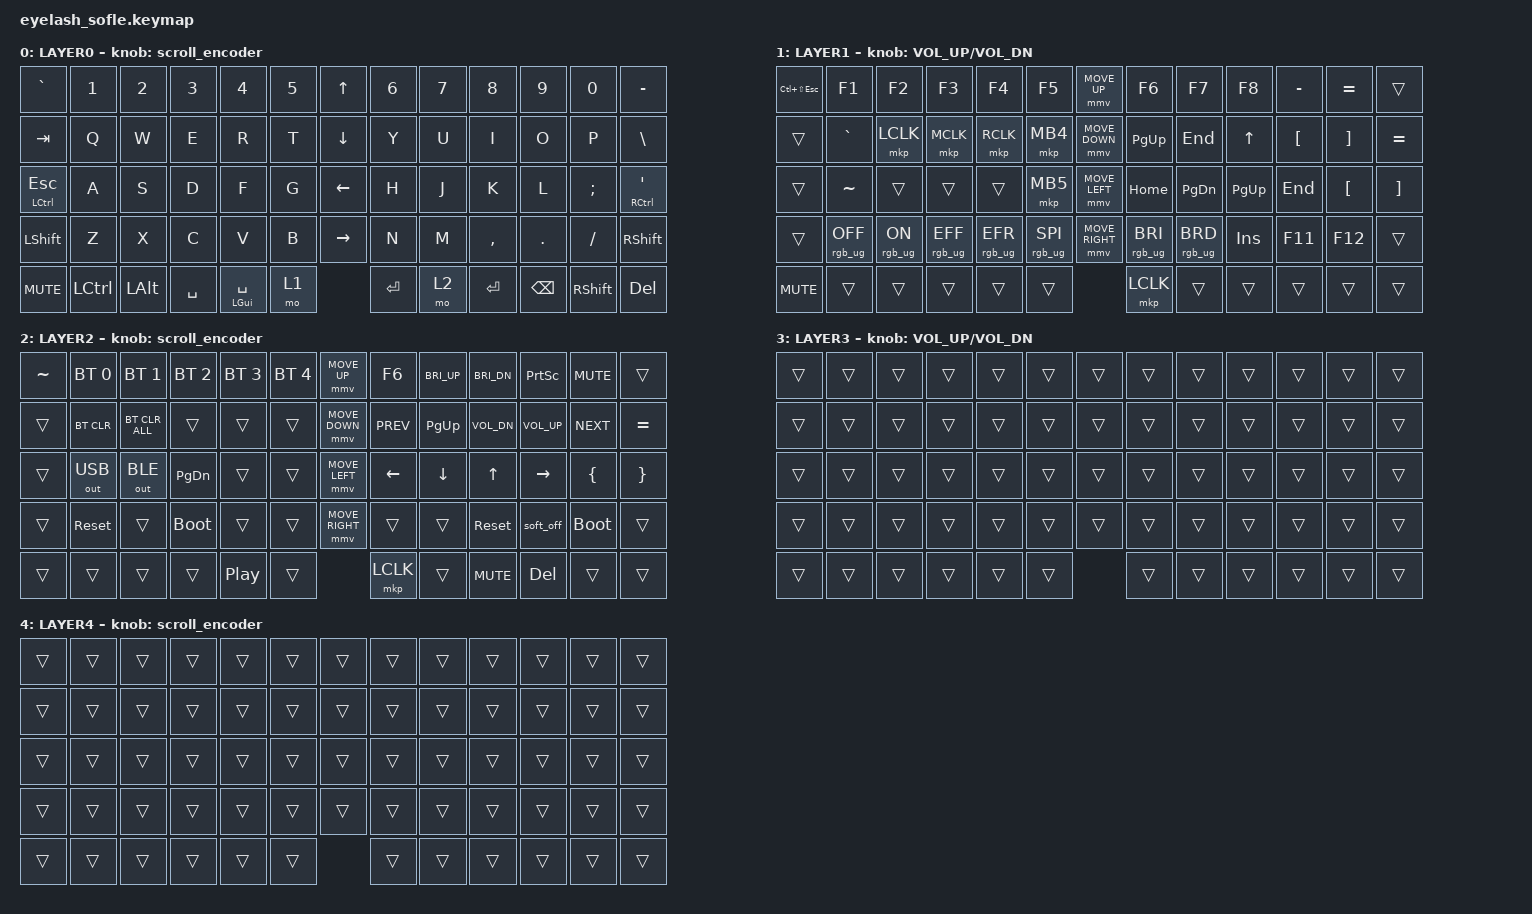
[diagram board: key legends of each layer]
#define ZMK_POINTING_DEFAULT_MOVE_VAL 1200  // 600
#define ZMK_POINTING_DEFAULT_SCRL_VAL 25   // 10

#include <input/processors.dtsi>
#include <zephyr/dt-bindings/input/input-event-codes.h>
#include <behaviors.dtsi>
#include <dt-bindings/zmk/bt.h>
#include <dt-bindings/zmk/keys.h>
#include <dt-bindings/zmk/outputs.h>
#include <dt-bindings/zmk/pointing.h>
#include <dt-bindings/zmk/rgb.h>

&mmv_input_listener { input-processors = <&zip_xy_scaler 2 1>; };

&msc_input_listener { input-processors = <&zip_scroll_scaler 2 1>; };

&msc {
    acceleration-exponent = <1>;      // 0
    time-to-max-speed-ms = <100>;       // 300
    delay-ms = <0>;                   // 0
};

&mmv {
    time-to-max-speed-ms = <500>;
    acceleration-exponent = <1>;
    trigger-period-ms = <16>;
};

&soft_off { hold-time-ms = <2000>; };

/ {
    scroll_encoder: scroll_encoder {
        compatible = "zmk,behavior-sensor-rotate";
        #sensor-binding-cells = <0>;
        bindings = <&msc SCRL_DOWN>, <&msc SCRL_UP>;

        tap-ms = <100>;
    };

    behaviors {
    };

    combos {
        compatible = "zmk,combos";

        softoff {
            bindings = <&soft_off>;
            key-positions = <14 28 40>;
        };

        caps_word_combo {
            bindings = <&caps_word>;
            key-positions = <39 51>;
        };

        jk_esc {
            bindings = <&kp ESC>;
            key-positions = <34 35>;
        };
    };

    macros {
        SHIFT_MCLK: SHIFT_MCLK {
            compatible = "zmk,behavior-macro";
            #binding-cells = <0>;
            bindings =
                <&macro_press>,
                <&kp LEFT_SHIFT>,
                <&macro_press>,
                <&mkp MB3>,
                <&macro_pause_for_release>,
                <&macro_release>,
                <&kp LEFT_SHIFT &mkp MB3>;

            label = "SHIFT_MCLK";
        };
    };

    keymap {
        compatible = "zmk,keymap";

        layer0 {
            bindings = <
&kp GRAVE      &kp N1     &kp N2        &kp N3        &kp N4  &kp N5       &kp UP_ARROW     &kp N6     &kp N7     &kp N8     &kp N9           &kp N0      &kp MINUS
&kp TAB        &kp Q      &kp W         &kp E         &kp R   &kp T        &kp DOWN_ARROW   &kp Y      &kp U      &kp I      &kp O            &kp P       &kp BSLH
&mt LCTRL ESC  &kp A      &kp S         &kp D         &kp F   &kp G        &kp LEFT_ARROW   &kp H      &kp J      &kp K      &kp L            &kp SEMI    &mt RCTRL APOS
&kp LSHFT      &kp Z      &kp X         &kp C         &kp V   &kp B        &kp RIGHT_ARROW  &kp N      &kp M      &kp COMMA  &kp DOT          &kp FSLH    &kp RSHFT
&kp C_MUTE     &kp LCTRL  &kp LEFT_ALT  &kp SPACE     &mt LEFT_GUI SPACE  &mo 1    &kp ENTER        &mo 2      &kp ENTER      &kp BACKSPACE  &kp RIGHT_SHIFT  &kp DELETE
            >;

            sensor-bindings = <&scroll_encoder>;
            display-name = "LAYER0";
        };

        layer_1 {
            bindings = <
&kp LC(LS(ESC))   &kp F1           &kp F2          &kp F3           &kp F4           &kp F5             &mmv MOVE_UP     &kp F6           &kp F7           &kp F8      &kp MINUS  &kp EQUAL         &trans
&trans      &kp GRAVE        &mkp LCLK       &mkp MCLK        &mkp RCLK        &mkp MB4           &mmv MOVE_DOWN   &kp PG_UP        &kp END          &kp UP      &kp LEFT_BRACKET   &kp RIGHT_BRACKET  &kp EQUAL
&trans      &kp TILDE        &trans          &trans           &trans           &mkp MB5           &mmv MOVE_LEFT   &kp HOME         &kp PG_DN        &kp PG_UP   &kp END    &kp LEFT_BRACKET  &kp RIGHT_BRACKET
&trans      &rgb_ug RGB_OFF  &rgb_ug RGB_ON  &rgb_ug RGB_EFF  &rgb_ug RGB_EFR  &rgb_ug RGB_SPI    &mmv MOVE_RIGHT  &rgb_ug RGB_BRI  &rgb_ug RGB_BRD  &kp INSERT  &kp F11    &kp F12           &trans
&kp C_MUTE  &trans           &trans          &trans           &trans           &trans             &mkp LCLK        &trans           &trans           &trans      &trans     &trans
            >;

             sensor-bindings = <&inc_dec_kp C_VOLUME_UP C_VOL_DN>;
            display-name = "LAYER1";
        };

        layer_2 {
            bindings = <
&kp TILDE  &bt BT_SEL 0  &bt BT_SEL 1    &bt BT_SEL 2  &bt BT_SEL 3  &bt BT_SEL 4    &mmv MOVE_UP     &kp F6  &kp C_BRI_UP  &kp C_BRI_DN  &kp PSCRN  &kp C_MUTE   &trans
&trans     &bt BT_CLR    &bt BT_CLR_ALL  &trans        &trans        &trans          &mmv MOVE_DOWN   &kp C_PREV  &kp PG_UP  &kp C_VOL_DN  &kp C_VOL_UP  &kp C_NEXT  &kp EQUAL
&trans     &out OUT_USB  &out OUT_BLE    &kp PG_DN     &trans        &trans          &mmv MOVE_LEFT   &kp LEFT    &kp DOWN    &kp UP        &kp RIGHT     &kp LBRC    &kp RBRC
&trans     &sys_reset    &trans          &bootloader   &trans        &trans          &mmv MOVE_RIGHT  &trans  &trans  &sys_reset  &soft_off  &bootloader  &trans
&trans     &trans        &trans          &trans        &kp C_PP      &trans          &mkp LCLK        &trans  &kp C_MUTE  &kp DELETE  &trans     &trans
            >;

            display-name = "LAYER2";
            sensor-bindings = <&scroll_encoder>;
        };

        layer_3 {
            bindings = <
&trans  &trans  &trans  &trans  &trans  &trans    &trans  &trans  &trans  &trans  &trans  &trans  &trans
&trans  &trans  &trans  &trans  &trans  &trans    &trans  &trans  &trans  &trans  &trans  &trans  &trans
&trans  &trans  &trans  &trans  &trans  &trans    &trans  &trans  &trans  &trans  &trans  &trans  &trans
&trans  &trans  &trans  &trans  &trans  &trans    &trans  &trans  &trans  &trans  &trans  &trans  &trans
&trans  &trans  &trans  &trans  &trans  &trans    &trans  &trans  &trans  &trans  &trans  &trans
            >;

            display-name = "LAYER3";
            sensor-bindings = <&inc_dec_kp C_VOLUME_UP C_VOL_DN>;
        };

        layer_4 {
            bindings = <
&trans  &trans  &trans  &trans  &trans  &trans    &trans  &trans  &trans  &trans  &trans  &trans  &trans
&trans  &trans  &trans  &trans  &trans  &trans    &trans  &trans  &trans  &trans  &trans  &trans  &trans
&trans  &trans  &trans  &trans  &trans  &trans    &trans  &trans  &trans  &trans  &trans  &trans  &trans
&trans  &trans  &trans  &trans  &trans  &trans    &trans  &trans  &trans  &trans  &trans  &trans  &trans
&trans  &trans  &trans  &trans  &trans  &trans    &trans  &trans  &trans  &trans  &trans  &trans
            >;

            display-name = "LAYER4";
            sensor-bindings = <&scroll_encoder>;
        };
    };
};
